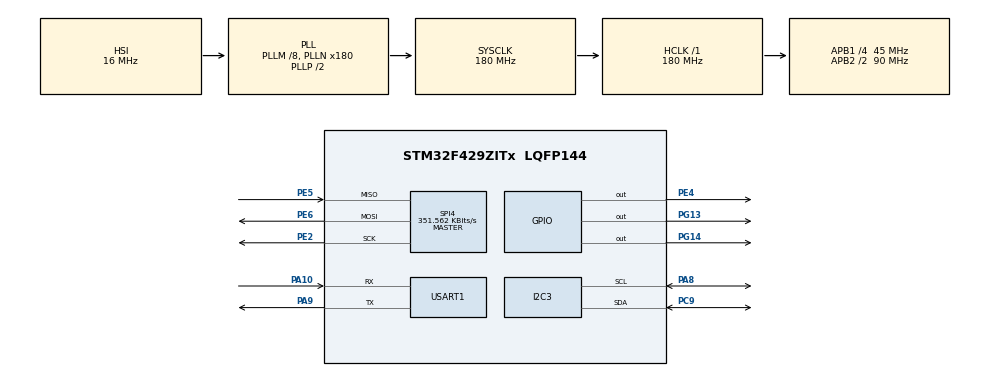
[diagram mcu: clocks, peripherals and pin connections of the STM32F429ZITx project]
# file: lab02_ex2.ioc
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I2C3.I2C_Mode=I2C_Fast
Mcu.Family=STM32F4
Mcu.Name=STM32F429ZITx
Mcu.Package=LQFP144
NVIC.PriorityGroup=NVIC_PRIORITYGROUP_4
NVIC.USART1_IRQn=true\:0\:0\:false\:false\:true\:true\:true\:true
PA10.Mode=Asynchronous
PA10.Signal=USART1_RX
PA13.Mode=Serial_Wire
PA13.Signal=SYS_JTMS-SWDIO
PA14.Mode=Serial_Wire
PA14.Signal=SYS_JTCK-SWCLK
PA8.Mode=I2C
PA8.Signal=I2C3_SCL
PA9.Mode=Asynchronous
PA9.Signal=USART1_TX
PC9.Mode=I2C
PC9.Signal=I2C3_SDA
PE2.Mode=Full_Duplex_Master
PE2.Signal=SPI4_SCK
PE4.Signal=GPIO_Output
PE5.Mode=Full_Duplex_Master
PE5.Signal=SPI4_MISO
PE6.Mode=Full_Duplex_Master
PE6.Signal=SPI4_MOSI
PG13.Signal=GPIO_Output
PG14.Signal=GPIO_Output
PH0/OSC_IN.Mode=HSE-External-Oscillator
PH0/OSC_IN.Signal=RCC_OSC_IN
PH1/OSC_OUT.Mode=HSE-External-Oscillator
PH1/OSC_OUT.Signal=RCC_OSC_OUT
ProjectManager.HeapSize=0x200
ProjectManager.StackSize=0x400
ProjectManager.TargetToolchain=STM32CubeIDE
RCC.48MHZClocksFreq_Value=90000000
RCC.AHBFreq_Value=180000000
RCC.APB1CLKDivider=RCC_HCLK_DIV4
RCC.APB1Freq_Value=45000000
RCC.APB1TimFreq_Value=90000000
RCC.APB2CLKDivider=RCC_HCLK_DIV2
RCC.APB2Freq_Value=90000000
RCC.APB2TimFreq_Value=180000000
RCC.CortexFreq_Value=180000000
RCC.HCLKFreq_Value=180000000
RCC.HSE_VALUE=25000000
RCC.HSI_VALUE=16000000
RCC.LSE_VALUE=32768
RCC.PLLM=8
RCC.PLLN=180
RCC.SYSCLKFreq_VALUE=180000000
RCC.SYSCLKSource=RCC_SYSCLKSOURCE_PLLCLK
RCC.VCOOutputFreq_Value=360000000
SPI4.BaudRatePrescaler=SPI_BAUDRATEPRESCALER_256
SPI4.CalculateBaudRate=351.562 KBits/s
SPI4.Direction=SPI_DIRECTION_2LINES
SPI4.Mode=SPI_MODE_MASTER
SPI4.VirtualType=VM_MASTER
USART1.VirtualMode=VM_ASYNC
board=custom

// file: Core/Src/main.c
/* USER CODE BEGIN Header */
/**
  ******************************************************************************
  * @file           : main.c
  * @brief          : Main program body
  ******************************************************************************
  */
/* USER CODE END Header */
#include "main.h"

/* USER CODE BEGIN Includes */
#include <stdio.h>
#include <string.h>
#include "SH1106.h"
#include "fonts.h"
#include "tm_stm32f4_mfrc522.h"
/* USER CODE END Includes */

/* USER CODE BEGIN PTD */
struct Time {
    uint8_t sec;
    uint8_t min;
    uint8_t hour;
    uint8_t weekday;
    uint8_t day;
    uint8_t month;
    uint8_t year;
};

typedef struct {
    uint8_t id[5];
} Card;

typedef struct {
    struct Time time;
    uint8_t cardID[5];
} LogEntry;
/* USER CODE END PTD */

/* USER CODE BEGIN PD */
#define MAX_CARDS    10
#define MAX_LOG      100
#define LED3_PIN     GPIO_PIN_13
#define LED4_PIN     GPIO_PIN_14
#define LED_PORT     GPIOG
/* USER CODE END PD */

I2C_HandleTypeDef hi2c3;

SPI_HandleTypeDef hspi4;

UART_HandleTypeDef huart1;

/* USER CODE BEGIN PV */
Card whitelist[MAX_CARDS];
uint8_t whitelistCount = 0;

LogEntry logs[MAX_LOG];
uint8_t logCount = 0;

// UART RX
volatile uint8_t rxByte;
char rxBuffer[64];
volatile uint8_t rxIndex = 0;
volatile uint8_t cmdReady = 0;
char cmdBuffer[64];
/* USER CODE END PV */

void SystemClock_Config(void);
static void MX_GPIO_Init(void);
static void MX_I2C3_Init(void);
static void MX_SPI4_Init(void);
static void MX_USART1_UART_Init(void);

/* USER CODE BEGIN 0 */

// ============= BCD helpers =============
uint8_t dec2bcd(uint8_t d) { return ((d / 10) << 4) | (d % 10); }
uint8_t bcd2dec(uint8_t b) { return (b >> 4) * 10 + (b & 0x0F); }

// ============= DS1307 =============
HAL_StatusTypeDef SetTime(struct Time *t) {
    struct Time bcd;
    bcd.sec = dec2bcd(t->sec);
    bcd.min = dec2bcd(t->min);
    bcd.hour = dec2bcd(t->hour);
    bcd.weekday = dec2bcd(t->weekday);
    bcd.day = dec2bcd(t->day);
    bcd.month = dec2bcd(t->month);
    bcd.year = dec2bcd(t->year);
    return HAL_I2C_Mem_Write(&hi2c3, 0xD0, 0, 1, (uint8_t *)&bcd, 7, 1000);
}

HAL_StatusTypeDef GetTime(struct Time *t) {
    struct Time bcd;
    HAL_StatusTypeDef s = HAL_I2C_Mem_Read(&hi2c3, 0xD1, 0, 1, (uint8_t *)&bcd, 7, 1000);
    t->sec = bcd2dec(bcd.sec);
    t->min = bcd2dec(bcd.min);
    t->hour = bcd2dec(bcd.hour);
    t->weekday = bcd2dec(bcd.weekday);
    t->day = bcd2dec(bcd.day);
    t->month = bcd2dec(bcd.month);
    t->year = bcd2dec(bcd.year);
    return s;
}

void SetInitialTime() {
    struct Time t;
    t.sec = 0; t.min = 30; t.hour = 15;
    t.day = 9; t.month = 5; t.year = 26; t.weekday = 0;
    SetTime(&t);
}

// ============= UART helpers =============
void uartPrint(const char *s) {
    HAL_UART_Transmit(&huart1, (uint8_t*)s, strlen(s), 1000);
}

// ============= Card helpers =============
int cardEqual(uint8_t *a, uint8_t *b) {
    return memcmp(a, b, 5) == 0;
}

int findCard(uint8_t *id) {
    for (uint8_t i = 0; i < whitelistCount; i++) {
        if (cardEqual(whitelist[i].id, id)) return i;
    }
    return -1;
}

// Parse "A3F21B0049" → 5 bytes. Returns 0 on success, -1 on error.
int parseHexID(const char *hex, uint8_t *out) {
    if (strlen(hex) != 10) return -1;
    for (int i = 0; i < 5; i++) {
        unsigned int b;
        char tmp[3] = { hex[i*2], hex[i*2+1], 0 };
        if (sscanf(tmp, "%02x", &b) != 1) return -1;
        out[i] = (uint8_t)b;
    }
    return 0;
}

void cardToHex(uint8_t *id, char *out) {
    sprintf(out, "%02X%02X%02X%02X%02X", id[0], id[1], id[2], id[3], id[4]);
}

// ============= Log =============
void addLog(struct Time *t, uint8_t *cardID) {
    if (logCount >= MAX_LOG) return;
    logs[logCount].time = *t;
    memcpy(logs[logCount].cardID, cardID, 5);
    logCount++;
}

// ============= UART command handlers =============
void cmdAdd(const char *arg) {
    char buf[80];
    uint8_t id[5];
    if (parseHexID(arg, id) != 0) {
        uartPrint("ERR: Invalid card ID (need 10 hex chars)\r\n");
        return;
    }
    if (findCard(id) >= 0) {
        uartPrint("ERR: Card already exists\r\n");
        return;
    }
    if (whitelistCount >= MAX_CARDS) {
        uartPrint("ERR: Whitelist full\r\n");
        return;
    }
    memcpy(whitelist[whitelistCount].id, id, 5);
    whitelistCount++;
    sprintf(buf, "OK: Card added (%d cards total)\r\n", whitelistCount);
    uartPrint(buf);
}

void cmdDel(const char *arg) {
    uint8_t id[5];
    if (parseHexID(arg, id) != 0) {
        uartPrint("ERR: Invalid card ID\r\n");
        return;
    }
    int idx = findCard(id);
    if (idx < 0) {
        uartPrint("ERR: Card not found\r\n");
        return;
    }
    for (int i = idx; i < whitelistCount - 1; i++) {
        whitelist[i] = whitelist[i+1];
    }
    whitelistCount--;
    uartPrint("OK: Card deleted\r\n");
}

void cmdList() {
    char buf[80];
    char hex[12];
    sprintf(buf, "Cards (%d):\r\n", whitelistCount);
    uartPrint(buf);
    for (uint8_t i = 0; i < whitelistCount; i++) {
        cardToHex(whitelist[i].id, hex);
        sprintf(buf, "%d. %s\r\n", i+1, hex);
        uartPrint(buf);
    }
}

void cmdLog() {
    char buf[100];
    char hex[12];
    sprintf(buf, "Log (%d entries):\r\n", logCount);
    uartPrint(buf);
    for (uint8_t i = 0; i < logCount; i++) {
        cardToHex(logs[i].cardID, hex);
        sprintf(buf, "%d. [%02d:%02d:%02d %02d/%02d/%02d] %s\r\n",
                i+1,
                logs[i].time.hour, logs[i].time.min, logs[i].time.sec,
                logs[i].time.day, logs[i].time.month, logs[i].time.year,
                hex);
        uartPrint(buf);
    }
}

void cmdHelp() {
    uartPrint("Commands:\r\n");
    uartPrint("  ADD <10 hex>  - add card to whitelist\r\n");
    uartPrint("  DEL <10 hex>  - remove card\r\n");
    uartPrint("  LIST          - list whitelist\r\n");
    uartPrint("  LOG           - show access log\r\n");
    uartPrint("  HELP          - this message\r\n");
}

void handleCommand(char *cmd) {
    // Bỏ khoảng trắng ở đầu
    while (*cmd == ' ') cmd++;

    if (strncasecmp(cmd, "ADD ", 4) == 0)       cmdAdd(cmd + 4);
    else if (strncasecmp(cmd, "DEL ", 4) == 0)  cmdDel(cmd + 4);
    else if (strcasecmp(cmd, "LIST") == 0)      cmdList();
    else if (strcasecmp(cmd, "LOG") == 0)       cmdLog();
    else if (strcasecmp(cmd, "HELP") == 0)      cmdHelp();
    else if (strlen(cmd) > 0)                   uartPrint("ERR: Unknown command. Type HELP\r\n");
}

// ============= UART RX interrupt =============
void HAL_UART_RxCpltCallback(UART_HandleTypeDef *huart) {
    if (huart->Instance == USART1) {
        if (rxByte == '\n' || rxByte == '\r') {
            if (rxIndex > 0) {
                rxBuffer[rxIndex] = '\0';
                strcpy(cmdBuffer, rxBuffer);
                cmdReady = 1;
                rxIndex = 0;
            }
        } else if (rxIndex < sizeof(rxBuffer) - 1) {
            rxBuffer[rxIndex++] = rxByte;
        }
        HAL_UART_Receive_IT(&huart1, (uint8_t*)&rxByte, 1);
    }
}

/* USER CODE END 0 */

int main(void)
{

  /* MCU Configuration--------------------------------------------------------*/

  /* Reset of all peripherals, Initializes the Flash interface and the Systick. */
  HAL_Init();

  /* Configure the system clock */
  SystemClock_Config();

  /* Initialize all configured peripherals */
  MX_GPIO_Init();
  MX_I2C3_Init();
  MX_SPI4_Init();
  MX_USART1_UART_Init();
  /* USER CODE BEGIN 2 */
    SetInitialTime();
    SH1106_Init();
    HAL_I2C_DeInit(&hi2c3);
    HAL_I2C_Init(&hi2c3);
    TM_MFRC522_Init();

    // Bắt đầu nhận UART theo ngắt
    HAL_UART_Receive_IT(&huart1, (uint8_t*)&rxByte, 1);

    // Tắt LED ban đầu
    HAL_GPIO_WritePin(LED_PORT, LED3_PIN, GPIO_PIN_RESET);
    HAL_GPIO_WritePin(LED_PORT, LED4_PIN, GPIO_PIN_RESET);

    uartPrint("\r\n=== RFID Door System ===\r\n");
    cmdHelp();
    uartPrint("\r\n");
  /* USER CODE END 2 */

  /* Infinite loop */
  /* USER CODE BEGIN WHILE */
    char buff[30];
    char dispBuf[20];
    struct Time t;
    uint8_t cardID[5];
    uint8_t lastCardPresent = 0;
    uint8_t noCardCounter = 0;
    char statusMsg[20] = "";

    while (1) {
    /* USER CODE END WHILE */

    /* USER CODE BEGIN 3 */
        // 1. Xử lý lệnh UART nếu có
        if (cmdReady) {
            cmdReady = 0;
            handleCommand(cmdBuffer);
        }

        // 2. Đọc thời gian
        GetTime(&t);

        // 3. Đọc thẻ RFID
        TM_MFRC522_Status_t st = TM_MFRC522_Check(cardID);

        if (st == MI_OK) {
            // Có thẻ
            HAL_GPIO_WritePin(LED_PORT, LED3_PIN, GPIO_PIN_SET);
            noCardCounter = 0;

            if (!lastCardPresent) {
                // Cạnh lên: thẻ mới được quẹt
                cardToHex(cardID, buff);

                if (findCard(cardID) >= 0) {
                    // Hợp lệ → mở khoá
                    HAL_GPIO_WritePin(LED_PORT, LED4_PIN, GPIO_PIN_SET);
                    strcpy(statusMsg, "Welcome");
                    addLog(&t, cardID);

                    char log[80];
                    sprintf(log, "[%02d:%02d:%02d] OPEN: %s\r\n",
                            t.hour, t.min, t.sec, buff);
                    uartPrint(log);
                } else {
                    // Không hợp lệ
                    HAL_GPIO_WritePin(LED_PORT, LED4_PIN, GPIO_PIN_RESET);
                    strcpy(statusMsg, "Rejected");

                    char log[80];
                    sprintf(log, "[%02d:%02d:%02d] DENY: %s\r\n",
                            t.hour, t.min, t.sec, buff);
                    uartPrint(log);
                }
            }
            lastCardPresent = 1;
        } else {
            // Không thấy thẻ — đợi vài lần để chắc chắn rút thẻ
            noCardCounter++;
            if (noCardCounter > 3) {
                HAL_GPIO_WritePin(LED_PORT, LED3_PIN, GPIO_PIN_RESET);
                HAL_GPIO_WritePin(LED_PORT, LED4_PIN, GPIO_PIN_RESET);
                lastCardPresent = 0;
                statusMsg[0] = '\0';
            }
        }

        // 4. Hiển thị OLED
        sprintf(dispBuf, "%02d:%02d:%02d", t.hour, t.min, t.sec);
        SH1106_GotoXY(10, 0);
        SH1106_Puts(dispBuf, &Font_11x18, 1);

        sprintf(dispBuf, "%02d/%02d/%02d", t.day, t.month, t.year);
        SH1106_GotoXY(10, 20);
        SH1106_Puts(dispBuf, &Font_11x18, 1);

        // Status: Welcome / Rejected
        SH1106_GotoXY(10, 45);
        if (strlen(statusMsg) > 0) {
            SH1106_Puts(statusMsg, &Font_11x18, 1);
        } else {
            SH1106_Puts("          ", &Font_11x18, 1);  // xoá vùng status
        }

        SH1106_UpdateScreen();
        HAL_Delay(150);
    }
  /* USER CODE END 3 */
}

void SystemClock_Config(void)
{
  RCC_OscInitTypeDef RCC_OscInitStruct = {0};
  RCC_ClkInitTypeDef RCC_ClkInitStruct = {0};

  /** Configure the main internal regulator output voltage
  */
  __HAL_RCC_PWR_CLK_ENABLE();
  __HAL_PWR_VOLTAGESCALING_CONFIG(PWR_REGULATOR_VOLTAGE_SCALE1);

  /** Initializes the RCC Oscillators according to the specified parameters
  * in the RCC_OscInitTypeDef structure.
  */
  RCC_OscInitStruct.OscillatorType = RCC_OSCILLATORTYPE_HSI;
  RCC_OscInitStruct.HSIState = RCC_HSI_ON;
  RCC_OscInitStruct.HSICalibrationValue = RCC_HSICALIBRATION_DEFAULT;
  RCC_OscInitStruct.PLL.PLLState = RCC_PLL_ON;
  RCC_OscInitStruct.PLL.PLLSource = RCC_PLLSOURCE_HSI;
  RCC_OscInitStruct.PLL.PLLM = 8;
  RCC_OscInitStruct.PLL.PLLN = 180;
  RCC_OscInitStruct.PLL.PLLP = RCC_PLLP_DIV2;
  RCC_OscInitStruct.PLL.PLLQ = 4;
  if (HAL_RCC_OscConfig(&RCC_OscInitStruct) != HAL_OK)
  {
    Error_Handler();
  }

  /** Activate the Over-Drive mode
  */
  if (HAL_PWREx_EnableOverDrive() != HAL_OK)
  {
    Error_Handler();
  }

  /** Initializes the CPU, AHB and APB buses clocks
  */
  RCC_ClkInitStruct.ClockType = RCC_CLOCKTYPE_HCLK|RCC_CLOCKTYPE_SYSCLK
                              |RCC_CLOCKTYPE_PCLK1|RCC_CLOCKTYPE_PCLK2;
  RCC_ClkInitStruct.SYSCLKSource = RCC_SYSCLKSOURCE_PLLCLK;
  RCC_ClkInitStruct.AHBCLKDivider = RCC_SYSCLK_DIV1;
  RCC_ClkInitStruct.APB1CLKDivider = RCC_HCLK_DIV4;
  RCC_ClkInitStruct.APB2CLKDivider = RCC_HCLK_DIV2;

  if (HAL_RCC_ClockConfig(&RCC_ClkInitStruct, FLASH_LATENCY_5) != HAL_OK)
  {
    Error_Handler();
  }
}

static void MX_I2C3_Init(void)
{

  hi2c3.Instance = I2C3;
  hi2c3.Init.ClockSpeed = 400000;
  hi2c3.Init.DutyCycle = I2C_DUTYCYCLE_2;
  hi2c3.Init.OwnAddress1 = 0;
  hi2c3.Init.AddressingMode = I2C_ADDRESSINGMODE_7BIT;
  hi2c3.Init.DualAddressMode = I2C_DUALADDRESS_DISABLE;
  hi2c3.Init.OwnAddress2 = 0;
  hi2c3.Init.GeneralCallMode = I2C_GENERALCALL_DISABLE;
  hi2c3.Init.NoStretchMode = I2C_NOSTRETCH_DISABLE;
  if (HAL_I2C_Init(&hi2c3) != HAL_OK)
  {
    Error_Handler();
  }

  /** Configure Analogue filter
  */
  if (HAL_I2CEx_ConfigAnalogFilter(&hi2c3, I2C_ANALOGFILTER_ENABLE) != HAL_OK)
  {
    Error_Handler();
  }

  /** Configure Digital filter
  */
  if (HAL_I2CEx_ConfigDigitalFilter(&hi2c3, 0) != HAL_OK)
  {
    Error_Handler();
  }

}

static void MX_SPI4_Init(void)
{

  /* SPI4 parameter configuration*/
  hspi4.Instance = SPI4;
  hspi4.Init.Mode = SPI_MODE_MASTER;
  hspi4.Init.Direction = SPI_DIRECTION_2LINES;
  hspi4.Init.DataSize = SPI_DATASIZE_8BIT;
  hspi4.Init.CLKPolarity = SPI_POLARITY_LOW;
  hspi4.Init.CLKPhase = SPI_PHASE_1EDGE;
  hspi4.Init.NSS = SPI_NSS_SOFT;
  hspi4.Init.BaudRatePrescaler = SPI_BAUDRATEPRESCALER_256;
  hspi4.Init.FirstBit = SPI_FIRSTBIT_MSB;
  hspi4.Init.TIMode = SPI_TIMODE_DISABLE;
  hspi4.Init.CRCCalculation = SPI_CRCCALCULATION_DISABLE;
  hspi4.Init.CRCPolynomial = 10;
  if (HAL_SPI_Init(&hspi4) != HAL_OK)
  {
    Error_Handler();
  }

}

static void MX_USART1_UART_Init(void)
{

  huart1.Instance = USART1;
  huart1.Init.BaudRate = 115200;
  huart1.Init.WordLength = UART_WORDLENGTH_8B;
  huart1.Init.StopBits = UART_STOPBITS_1;
  huart1.Init.Parity = UART_PARITY_NONE;
  huart1.Init.Mode = UART_MODE_TX_RX;
  huart1.Init.HwFlowCtl = UART_HWCONTROL_NONE;
  huart1.Init.OverSampling = UART_OVERSAMPLING_16;
  if (HAL_UART_Init(&huart1) != HAL_OK)
  {
    Error_Handler();
  }

}

static void MX_GPIO_Init(void)
{
  GPIO_InitTypeDef GPIO_InitStruct = {0};

  /* GPIO Ports Clock Enable */
  __HAL_RCC_GPIOE_CLK_ENABLE();
  __HAL_RCC_GPIOH_CLK_ENABLE();
  __HAL_RCC_GPIOC_CLK_ENABLE();
  __HAL_RCC_GPIOA_CLK_ENABLE();
  __HAL_RCC_GPIOG_CLK_ENABLE();

  /*Configure GPIO pin Output Level */
  HAL_GPIO_WritePin(GPIOE, GPIO_PIN_4, GPIO_PIN_RESET);

  /*Configure GPIO pin Output Level */
  HAL_GPIO_WritePin(GPIOG, GPIO_PIN_13|GPIO_PIN_14, GPIO_PIN_RESET);

  /*Configure GPIO pin : PE4 */
  GPIO_InitStruct.Pin = GPIO_PIN_4;
  GPIO_InitStruct.Mode = GPIO_MODE_OUTPUT_PP;
  GPIO_InitStruct.Pull = GPIO_NOPULL;
  GPIO_InitStruct.Speed = GPIO_SPEED_FREQ_LOW;
  HAL_GPIO_Init(GPIOE, &GPIO_InitStruct);

  /*Configure GPIO pins : PG13 PG14 */
  GPIO_InitStruct.Pin = GPIO_PIN_13|GPIO_PIN_14;
  GPIO_InitStruct.Mode = GPIO_MODE_OUTPUT_PP;
  GPIO_InitStruct.Pull = GPIO_NOPULL;
  GPIO_InitStruct.Speed = GPIO_SPEED_FREQ_LOW;
  HAL_GPIO_Init(GPIOG, &GPIO_InitStruct);

}

void Error_Handler(void)
{
  __disable_irq();
  while (1)
  {
  }
}
